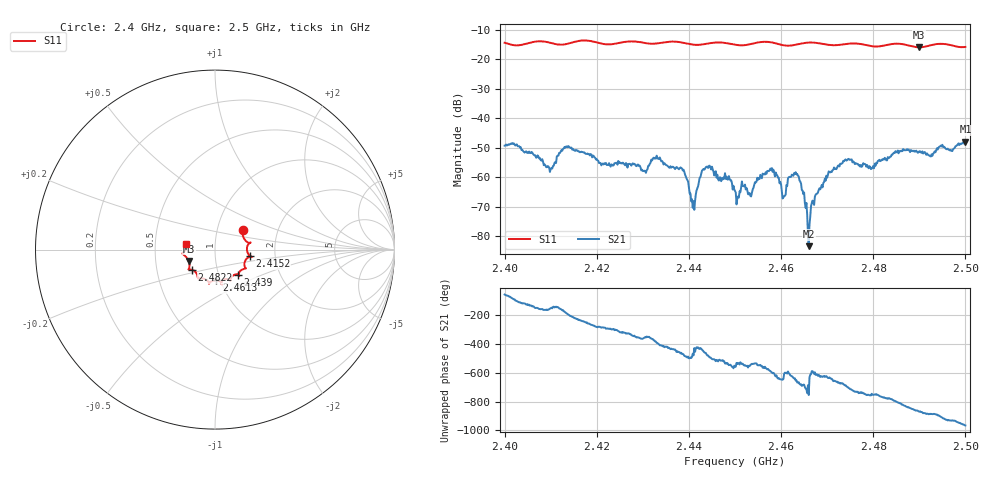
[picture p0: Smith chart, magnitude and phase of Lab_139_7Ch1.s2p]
# Hz S RI R 50
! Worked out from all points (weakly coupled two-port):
!   601 points, 2.4 GHz to 2.5 GHz, reference 50 ohm
!   highest |S21| = -47.91 dB at 2.5 GHz (marker M1); lowest = -83.3 dB at 2.466 GHz (marker M2)
!   lowest |S11| = -15.9 dB at 2.49 GHz (marker M3), VSWR 1.38, Z = 36.9 - j4.85 ohm
!   |S11| at or under -10 dB: start of sweep to end of sweep
!   S12 and S22 are empty: the file has one direction only
!   S11 on the Smith chart (normalised r, x): 2.4 GHz: 1.33, +0.31; 2.4152 GHz: 1.48, -0.11; 2.439 GHz: 1.24, -0.36; 2.4613 GHz: 0.96, -0.34; 2.4822 GHz: 0.76, -0.17; 2.5 GHz: 0.72, +0.05
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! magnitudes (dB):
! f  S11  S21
! 2.4 GHz  -14.4  -49.2
! 2.4098 GHz  -14.4  -58.1
! 2.4152 GHz  -14.1  -50.9
! 2.4167 GHz  -13.6  -51.3
! 2.4302 GHz  -14.4  -57.8
! 2.4333 GHz  -14.5  -53.7
! 2.439 GHz  -14.5  -58.1
! 2.4408 GHz  -15.0  -70.3
! 2.444 GHz  -14.7  -56.4
! 2.45 GHz  -15.0  -64.6
! 2.4533 GHz  -14.8  -66.3
! 2.4575 GHz  -14.1  -57.6
! 2.4605 GHz  -15.2  -66.8
! 2.4613 GHz  -15.3  -62.9
! 2.4637 GHz  -14.9  -59.4
! 2.466 GHz  -14.3  -83.3
! 2.4667 GHz  -14.3  -68.7
! 2.4735 GHz  -14.9  -54.4
! 2.4822 GHz  -15.4  -53.9
! 2.4833 GHz  -15.0  -53.5
! 2.49 GHz  -15.9  -51.1
! 2.5 GHz  -15.8  -47.9
